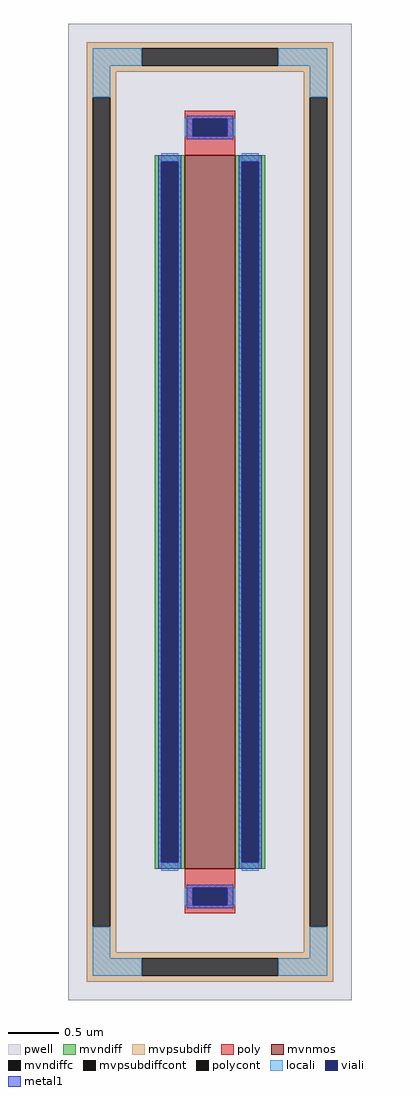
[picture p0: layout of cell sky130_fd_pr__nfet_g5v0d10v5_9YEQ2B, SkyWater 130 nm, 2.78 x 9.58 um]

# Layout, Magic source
magic
tech sky130B
<< pwell >>
rect -139 -479 139 479
<< mvnmos >>
rect -25 -350 25 350
<< mvndiff >>
rect -54 344 -25 350
rect -54 -344 -48 344
rect -31 -344 -25 344
rect -54 -350 -25 -344
rect 25 344 54 350
rect 25 -344 31 344
rect 48 -344 54 344
rect 25 -350 54 -344
<< mvndiffc >>
rect -48 -344 -31 344
rect 31 -344 48 344
<< mvpsubdiff >>
rect -121 455 121 461
rect -121 438 -67 455
rect 67 438 121 455
rect -121 432 121 438
rect -121 407 -92 432
rect -121 -407 -115 407
rect -98 -407 -92 407
rect 92 407 121 432
rect -121 -432 -92 -407
rect 92 -407 98 407
rect 115 -407 121 407
rect 92 -432 121 -407
rect -121 -438 121 -432
rect -121 -455 -67 -438
rect 67 -455 121 -438
rect -121 -461 121 -455
<< mvpsubdiffcont >>
rect -67 438 67 455
rect -115 -407 -98 407
rect 98 -407 115 407
rect -67 -455 67 -438
<< poly >>
rect -25 386 25 394
rect -25 369 -17 386
rect 17 369 25 386
rect -25 350 25 369
rect -25 -369 25 -350
rect -25 -386 -17 -369
rect 17 -386 25 -369
rect -25 -394 25 -386
<< polycont >>
rect -17 369 17 386
rect -17 -386 17 -369
<< locali >>
rect -115 438 -67 455
rect 67 438 115 455
rect -115 407 -98 438
rect 98 407 115 438
rect -25 369 -17 386
rect 17 369 25 386
rect -48 344 -31 352
rect -48 -352 -31 -344
rect 31 344 48 352
rect 31 -352 48 -344
rect -25 -386 -17 -369
rect 17 -386 25 -369
rect -115 -438 -98 -407
rect 98 -438 115 -407
rect -115 -455 -67 -438
rect 67 -455 115 -438
<< viali >>
rect -17 369 17 386
rect -48 -344 -31 344
rect 31 -344 48 344
rect -17 -386 17 -369
<< metal1 >>
rect -23 386 23 389
rect -23 369 -17 386
rect 17 369 23 386
rect -23 366 23 369
rect -51 344 -28 350
rect -51 -344 -48 344
rect -31 -344 -28 344
rect -51 -350 -28 -344
rect 28 344 51 350
rect 28 -344 31 344
rect 48 -344 51 344
rect 28 -350 51 -344
rect -23 -369 23 -366
rect -23 -386 -17 -369
rect 17 -386 23 -369
rect -23 -389 23 -386
<< properties >>
string FIXED_BBOX -106 -446 106 446
string gencell sky130_fd_pr__nfet_g5v0d10v5
string library sky130
string parameters w 7.0 l 0.5 m 1 nf 1 diffcov 100 polycov 100 guard 1 glc 1 grc 1 gtc 1 gbc 1 tbcov 100 rlcov 100 topc 1 botc 1 poverlap 0 doverlap 1 lmin 0.50 wmin 0.42 compatible {sky130_fd_pr__nfet_01v8 sky130_fd_pr__nfet_01v8_lvt  sky130_fd_bs_flash__special_sonosfet_star  sky130_fd_pr__nfet_g5v0d10v5 sky130_fd_pr__nfet_05v0_nvt  sky130_fd_pr__nfet_03v3_nvt} full_metal 1 viasrc 100 viadrn 100 viagate 100 viagb 0 viagr 0 viagl 0 viagt 0
<< end >>
